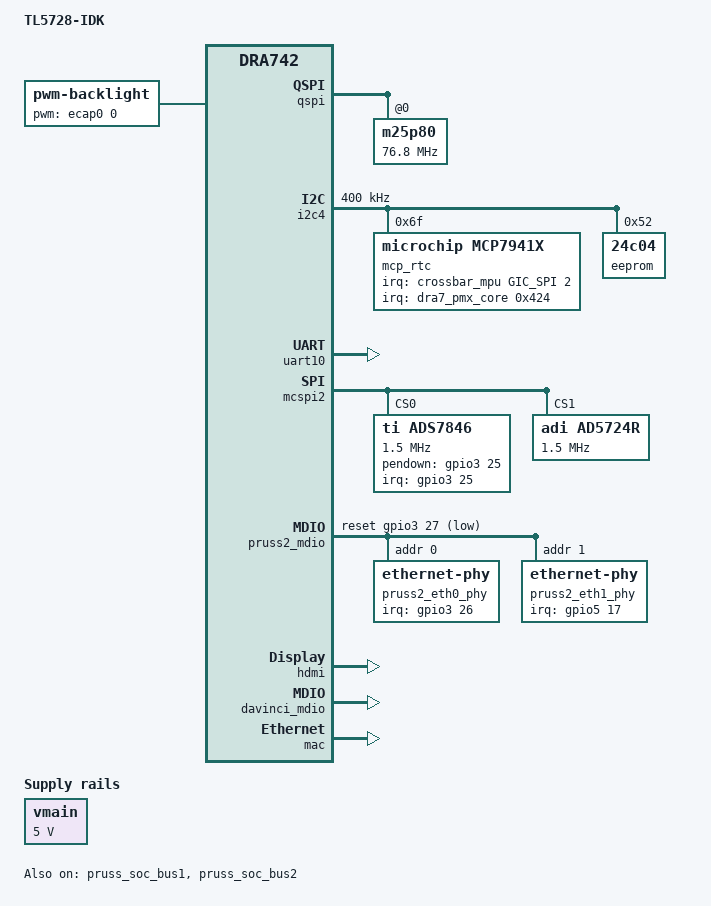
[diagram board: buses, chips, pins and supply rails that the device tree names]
/*
 * Copyright (C) 2015-2016 Texas Instruments Incorporated - http://www.ti.com/
 *
 * This program is free software; you can redistribute it and/or modify
 * it under the terms of the GNU General Public License version 2 as
 * published by the Free Software Foundation.
 */

#include "am57xx-evm-common.dtsi"

/ {
	model = "TL5728-IDK";
	compatible = "ti,am5728-idk", "ti,am5728", "ti,dra742", "ti,dra74",
		     "ti,dra7";

	aliases {
		rtc0 = &mcp_rtc;
		ethernet2 = &pruss2_emac0;
		ethernet3 = &pruss2_emac1;
	};

	vmain: fixedregulator-vmain {
		compatible = "regulator-fixed";
		regulator-name = "VMAIN";
		regulator-min-microvolt = <5000000>;
		regulator-max-microvolt = <5000000>;
		regulator-always-on;
		regulator-boot-on;
	};

	/* Dual-MAC Ethernet application node on PRU-ICSS2 */
	pruss2_eth: pruss2_eth {
		compatible = "ti,am57-prueth";
		pruss = <&pruss2>;
		sram = <&ocmcram1>;
		interrupt-parent = <&pruss2_intc>;
		/*rx-queue-size = /bits/ 16 <254 134 134 254 48>;*/ /* RED */
		/*rx-queue-size = /bits/ 16 <194 194 194 194 48>;*/ /* EMAC */
		/* map is lowpcp-to->hipcp where val 3=q4, 2=q3, 1=q2, 0=q1 */
		/*pcp-rxq-map = /bits/ 8 <3 3 2 2 1 1 0 0>;*/

		pruss2_emac0: ethernet-mii0 {
			phy-handle = <&pruss2_eth0_phy>;
			phy-mode = "mii";
			interrupts = <20>, <22>, <23>;
			interrupt-names = "rx", "tx", "ptp_tx";
			/* Filled in by bootloader */
			local-mac-address = [00 00 00 00 00 00];
			/*tx-queue-size = /bits/ 16 <97 97 97 97 48>;*/
		};

		pruss2_emac1: ethernet-mii1 {
			phy-handle = <&pruss2_eth1_phy>;
			phy-mode = "mii";
			interrupts = <21>, <23>, <24>;
			interrupt-names = "rx", "tx", "ptp_tx";
			/* Filled in by bootloader */
			local-mac-address = [00 00 00 00 00 00];
			/*tx-queue-size = /bits/ 16 <97 97 97 97 48>;*/
		};
	};

	backlight {
		compatible = "pwm-backlight";
		pinctrl-names = "default";
		pinctrl-0 = <&ehrpwm0_pins>;

		pwms = <&ecap0 0 50000 0>;

		brightness-levels = <0 10 50 100 150 200 220 240 255>;
		default-brightness-level = <8>;
	};
};

&qspi {
	spi-max-frequency = <76800000>;
	m25p80@0 {
		spi-max-frequency = <76800000>;
	};
};

&mmc1 {
	pinctrl-names = "default", "hs", "sdr12", "sdr25", "sdr50", "ddr50", "sdr104";
	pinctrl-0 = <&mmc1_pins_default>;
};

&mmc2 {
	pinctrl-names = "default", "hs", "ddr_1_8v";
	pinctrl-0 = <&mmc2_pins_default>;
	pinctrl-1 = <&mmc2_pins_hs>;
	pinctrl-2 = <&mmc2_pins_ddr_rev20>;
};

&lcd0 {
	pinctrl-names = "default";
	pinctrl-0 = <&lcd_pins_default>;

	panel-timing {
		clock-frequency = <33000000>;
		hactive = <800>;
		vactive = <480>;
		hfront-porch = <210>;
		hback-porch = <16>;
		hsync-len = <30>;
		vback-porch = <10>;
		vfront-porch = <22>;
		vsync-len = <13>;
		hsync-active = <0>;
		vsync-active = <0>;
		de-active = <1>;
		pixelclk-active = <1>;
	};
};



#include "am57xx-evm-cmem.dtsi"

&tps659038{
	tps659038_pmic {
		smps12-in-supply = <&vmain>;
		smps3-in-supply = <&vmain>;
		smps45-in-supply = <&vmain>;
		smps6-in-supply = <&vmain>;
		smps7-in-supply = <&vmain>;
		smps8-in-supply = <&vmain>;
		smps9-in-supply = <&vmain>;
		ldo1-in-supply = <&vmain>;
		ldo2-in-supply = <&vmain>;
		ldo3-in-supply = <&vmain>;
		ldo4-in-supply = <&vmain>;
		ldo9-in-supply = <&vmain>;
		ldoln-in-supply = <&vmain>;
		ldousb-in-supply = <&vmain>;
		ldortc-in-supply = <&vmain>;

		regulators {
			smps6_reg: smps6 {
				regulator-max-microvolt = <1060000>;
			};

			smps9_reg: smps9 {
				/* VDD_3_3D */
				regulator-name = "smps9";
				regulator-min-microvolt = <3300000>;
				regulator-max-microvolt = <3300000>;
				regulator-always-on;
				regulator-boot-on;
			};

			ldousb_reg: ldousb {
				regulator-always-on;
			};

			ldortc_reg: ldortc {
				/* VDDA_RTC  */
				regulator-name = "ldortc";
				regulator-min-microvolt = <1800000>;
				regulator-max-microvolt = <1800000>;
				regulator-always-on;
				regulator-boot-on;
			};

			regen2: regen2 {
				/* Needed for PMIC internal resource */
				regulator-name = "regen2";
				regulator-boot-on;
				regulator-always-on;
			};
		};
	};
};

&dra7_pmx_core {
	pinctrl-names = "default";
	pinctrl-0 = <&i2c4_pins_default &i2c1_pins_default &gpio_pins_default>;
	i2c4_pins_default: i2c4_pins_default {
		pinctrl-single,pins = <
			DRA7XX_CORE_IOPAD(0x3440, (PIN_INPUT_PULLUP | MUX_MODE7)) /* gpmc_a0.i2c4_scl */
			DRA7XX_CORE_IOPAD(0x3444, (PIN_INPUT_PULLUP | MUX_MODE7)) /* gpmc_a1.i2c4_sda */
		>;
	};

	uart10_pins_default: uart10_pins_default {
		pinctrl-single,pins = <
			DRA7XX_CORE_IOPAD(0x3570, (PIN_INPUT_PULLUP | MUX_MODE8)) /* vin2a_d2.uart10_rxd */
			DRA7XX_CORE_IOPAD(0x3574, (PIN_INPUT_PULLUP | MUX_MODE8)) /* vin2a_d3.uart10_txd */
		>;
	};

	spi2_pins: spi2_pins {
		pinctrl-single,pins = <
			DRA7XX_CORE_IOPAD(0x37c0, (INPUT_EN | MUX_MODE0))          /* spi2_sclk.spi2_sclk (A26) */
			DRA7XX_CORE_IOPAD(0x37c4, (INPUT_EN | MUX_MODE0))          /* spi2_d1.spi2_d1 (B22) */
			DRA7XX_CORE_IOPAD(0x37c8, (INPUT_EN | MUX_MODE0))          /* spi2_d0.spi2_d0 (G17) */
			DRA7XX_CORE_IOPAD(0x37cc, (PIN_OUTPUT_PULLUP | MUX_MODE0)) /* spi2_cs0.spi2_cs0 (B24) */
			DRA7XX_CORE_IOPAD(0x37b4, (PIN_OUTPUT_PULLUP | MUX_MODE3)) /* spi1_cs1.spi2_cs1 (A22) */
		>;
	};

	lcd_pins_default: lcd_pins_default {
		pinctrl-single,pins = <
			DRA7XX_CORE_IOPAD(0x35c8, (PIN_OUTPUT | MUX_MODE0 | SLEWCONTROL | MODE_SELECT)) /* vout1_clk */
			DRA7XX_CORE_IOPAD(0x35cc, (PIN_OUTPUT | MUX_MODE0 | SLEWCONTROL | MODE_SELECT)) /* vout1_de */
			DRA7XX_CORE_IOPAD(0x35d4, (PIN_OUTPUT | MUX_MODE0 | SLEWCONTROL | MODE_SELECT)) /* vout1_hsync */
			DRA7XX_CORE_IOPAD(0x35d8, (PIN_OUTPUT | MUX_MODE0 | SLEWCONTROL | MODE_SELECT)) /* vout1_vsync */
			DRA7XX_CORE_IOPAD(0x35dc, (PIN_OUTPUT | MUX_MODE0 | SLEWCONTROL | MODE_SELECT)) /* vout1_d0 */
			DRA7XX_CORE_IOPAD(0x35e0, (PIN_OUTPUT | MUX_MODE0 | SLEWCONTROL | MODE_SELECT)) /* vout1_d1 */
			DRA7XX_CORE_IOPAD(0x35e4, (PIN_OUTPUT | MUX_MODE0 | SLEWCONTROL | MODE_SELECT)) /* vout1_d2 */
			DRA7XX_CORE_IOPAD(0x35e8, (PIN_OUTPUT | MUX_MODE0 | SLEWCONTROL | MODE_SELECT)) /* vout1_d3 */
			DRA7XX_CORE_IOPAD(0x35ec, (PIN_OUTPUT | MUX_MODE0 | SLEWCONTROL | MODE_SELECT)) /* vout1_d4 */
			DRA7XX_CORE_IOPAD(0x35f0, (PIN_OUTPUT | MUX_MODE0 | SLEWCONTROL | MODE_SELECT)) /* vout1_d5 */
			DRA7XX_CORE_IOPAD(0x35f4, (PIN_OUTPUT | MUX_MODE0 | SLEWCONTROL | MODE_SELECT)) /* vout1_d6 */
			DRA7XX_CORE_IOPAD(0x35f8, (PIN_OUTPUT | MUX_MODE0 | SLEWCONTROL | MODE_SELECT)) /* vout1_d7 */
			DRA7XX_CORE_IOPAD(0x35fc, (PIN_OUTPUT | MUX_MODE0 | SLEWCONTROL | MODE_SELECT)) /* vout1_d8 */
			DRA7XX_CORE_IOPAD(0x3600, (PIN_OUTPUT | MUX_MODE0 | SLEWCONTROL | MODE_SELECT)) /* vout1_d9 */
			DRA7XX_CORE_IOPAD(0x3604, (PIN_OUTPUT | MUX_MODE0 | SLEWCONTROL | MODE_SELECT)) /* vout1_d10 */
			DRA7XX_CORE_IOPAD(0x3608, (PIN_OUTPUT | MUX_MODE0 | SLEWCONTROL | MODE_SELECT)) /* vout1_d11 */
			DRA7XX_CORE_IOPAD(0x360c, (PIN_OUTPUT | MUX_MODE0 | SLEWCONTROL | MODE_SELECT)) /* vout1_d12 */
			DRA7XX_CORE_IOPAD(0x3610, (PIN_OUTPUT | MUX_MODE0 | SLEWCONTROL | MODE_SELECT)) /* vout1_d13 */
			DRA7XX_CORE_IOPAD(0x3614, (PIN_OUTPUT | MUX_MODE0 | SLEWCONTROL | MODE_SELECT)) /* vout1_d14 */
			DRA7XX_CORE_IOPAD(0x3618, (PIN_OUTPUT | MUX_MODE0 | SLEWCONTROL | MODE_SELECT)) /* vout1_d15 */
			DRA7XX_CORE_IOPAD(0x361c, (PIN_OUTPUT | MUX_MODE0 | SLEWCONTROL | MODE_SELECT)) /* vout1_d16 */
			DRA7XX_CORE_IOPAD(0x3620, (PIN_OUTPUT | MUX_MODE0 | SLEWCONTROL | MODE_SELECT)) /* vout1_d17 */
			DRA7XX_CORE_IOPAD(0x3624, (PIN_OUTPUT | MUX_MODE0 | SLEWCONTROL | MODE_SELECT)) /* vout1_d18 */
			DRA7XX_CORE_IOPAD(0x3628, (PIN_OUTPUT | MUX_MODE0 | SLEWCONTROL | MODE_SELECT)) /* vout1_d19 */
			DRA7XX_CORE_IOPAD(0x362c, (PIN_OUTPUT | MUX_MODE0 | SLEWCONTROL | MODE_SELECT)) /* vout1_d20 */
			DRA7XX_CORE_IOPAD(0x3630, (PIN_OUTPUT | MUX_MODE0 | SLEWCONTROL | MODE_SELECT)) /* vout1_d21 */
			DRA7XX_CORE_IOPAD(0x3634, (PIN_OUTPUT | MUX_MODE0 | SLEWCONTROL | MODE_SELECT)) /* vout1_d22 */
			DRA7XX_CORE_IOPAD(0x3638, (PIN_OUTPUT | MUX_MODE0 | SLEWCONTROL | MODE_SELECT)) /* vout1_d23 */
		>;
	};

	ads7846_pins: ads7846_pins {
		pinctrl-single,pins = <
			DRA7XX_CORE_IOPAD(0x3548, (PIN_INPUT_PULLUP | MUX_MODE14)) /* vin1a_d21.gpio3_25 */
		>;
	};

	pru2_mii_pins_default: pru2_mii_pins_default {
		pinctrl-single,pins = <
			DRA7XX_CORE_IOPAD(0x3644, (PIN_INPUT_PULLUP | MUX_MODE14)) /* RMII_MHZ_50_CLK.gpio5_17 */
			DRA7XX_CORE_IOPAD(0x3684, (PIN_OUTPUT_PULLUP | MUX_MODE14)) /* usb2_drvvbus.gpio6_13 */
			DRA7XX_CORE_IOPAD(0x354c, (PIN_INPUT_PULLUP | MUX_MODE14)) /* vin1a_d22.gpio3_26*/
			DRA7XX_CORE_IOPAD(0x36b8, (PIN_INPUT_PULLDOWN | MUX_MODE11)) /* mcasp1_axr1.pr2_mii_mt0_clk (F12)*/
			DRA7XX_CORE_IOPAD(0x36d4, (PIN_INPUT_PULLDOWN | MUX_MODE11)) /* mcasp1_axr8.pr2_mii0_txen (B12) */
			DRA7XX_CORE_IOPAD(0x36e4, (PIN_INPUT_PULLDOWN | MUX_MODE11)) /* mcasp1_axr12.pr2_mii0_txd0 (E14) */
			DRA7XX_CORE_IOPAD(0x36e0, (PIN_INPUT_PULLDOWN | MUX_MODE11)) /* mcasp1_axr11.pr2_mii0_txd1 (A12) */
			DRA7XX_CORE_IOPAD(0x36dc, (PIN_INPUT_PULLDOWN | MUX_MODE11)) /* mcasp1_axr10.pr2_mii0_txd2 (B13) */
			DRA7XX_CORE_IOPAD(0x36d8, (PIN_INPUT_PULLDOWN | MUX_MODE11)) /* mcasp1_axr9.pr2_mii0_txd3 (A11) */
			DRA7XX_CORE_IOPAD(0x36e8, (PIN_INPUT_PULLDOWN | MUX_MODE11)) /* mcasp1_axr13.pr2_mii_mr0_clk (A13) */
			DRA7XX_CORE_IOPAD(0x36ec, (PIN_INPUT_PULLDOWN | MUX_MODE11)) /* mcasp1_axr14.pr2_mii0_rxdv (G14) */
			DRA7XX_CORE_IOPAD(0x36b4, (PIN_INPUT_PULLDOWN | MUX_MODE11)) /* mcasp1_axr0.pr2_mii0_rxer (G12) */
			DRA7XX_CORE_IOPAD(0x3724, (PIN_INPUT_PULLDOWN | MUX_MODE11)) /* mcasp3_aclkx.pr2_mii0_crs (B18) */
			DRA7XX_CORE_IOPAD(0x3728, (PIN_INPUT_PULLUP | MUX_MODE11)) /* mcasp3_fsx.pr2_mii0_col (F15) */
			DRA7XX_CORE_IOPAD(0x3710, (PIN_INPUT_PULLDOWN | MUX_MODE11)) /* mcasp2_axr3.pr2_mii0_rxlink (A16) */
			DRA7XX_CORE_IOPAD(0x370c, (PIN_INPUT_PULLUP | MUX_MODE11)) /* mcasp2_axr2.pr2_mii0_rxd0 (C15) */
			DRA7XX_CORE_IOPAD(0x36f8, (PIN_INPUT_PULLUP | MUX_MODE11)) /* mcasp2_fsx.pr2_mii0_rxd1 (A18) */
			DRA7XX_CORE_IOPAD(0x36f4, (PIN_INPUT_PULLUP | MUX_MODE11)) /* mcasp2_acllx.pr2_mii0_rxd2 (A19) */
			DRA7XX_CORE_IOPAD(0x36f0, (PIN_INPUT_PULLUP | MUX_MODE11)) /* mcasp1_axr15.pr2_mii0_rxd3 (F14) */
			DRA7XX_CORE_IOPAD(0x3774, (PIN_INPUT_PULLDOWN | MUX_MODE11)) /* gpio6_10.pr2_mii_mt1_clk (AC5) */
			DRA7XX_CORE_IOPAD(0x3778, (PIN_INPUT_PULLDOWN | MUX_MODE11)) /* gpio6_11.pr2_mii1_txen (AB4) */
			DRA7XX_CORE_IOPAD(0x377c, (PIN_INPUT_PULLDOWN | MUX_MODE11)) /* mmc3_clk.pr2_mii1_txd3 (AD4) */
			DRA7XX_CORE_IOPAD(0x3780, (PIN_INPUT_PULLDOWN | MUX_MODE11)) /* mmc3_cmd.pr2_mii1_txd2 (AC4) */
			DRA7XX_CORE_IOPAD(0x36a4, (PIN_INPUT_PULLUP | MUX_MODE11)) /* mcasp1_aclkx.pr2_mdio_mdclk (C14) */
			DRA7XX_CORE_IOPAD(0x36a8, (PIN_INPUT_PULLUP | MUX_MODE11)) /* mcasp1_fsx.pr2_mdio_data (D14) */
			DRA7XX_CORE_IOPAD(0x3784, (PIN_INPUT_PULLDOWN | MUX_MODE11)) /* mmc3_dat0.pr2_mii1_txd1 (AC7) */
			DRA7XX_CORE_IOPAD(0x3788, (PIN_INPUT_PULLDOWN | MUX_MODE11)) /* immc3_dat1.pr2_mii1_txd0 (AC6) */
			DRA7XX_CORE_IOPAD(0x378c, (PIN_INPUT_PULLDOWN | MUX_MODE11)) /* mmc3_dat2.pr2_mii_mr1_clk (AC9) */
			DRA7XX_CORE_IOPAD(0x3790, (PIN_INPUT_PULLDOWN | MUX_MODE11)) /* mmc3_dat3.pr2_mii1_rxdv (AC3) */
			DRA7XX_CORE_IOPAD(0x3794, (PIN_INPUT_PULLUP | MUX_MODE11)) /* mmc3_dat4.pr2_mii1_rxd3 (AC8) */
			DRA7XX_CORE_IOPAD(0x3798, (PIN_INPUT_PULLUP | MUX_MODE11)) /* mmc3_dat5.pr2_mii1_rxd2 (AD6) */
			DRA7XX_CORE_IOPAD(0x379c, (PIN_INPUT_PULLUP | MUX_MODE11)) /* mmc3_dat6.pr2_mii1_rxd1 (AB8) */
			DRA7XX_CORE_IOPAD(0x37a0, (PIN_INPUT_PULLUP | MUX_MODE11)) /* mmc3_dat7.pr2_mii1_rxd0 (AB5) */
			DRA7XX_CORE_IOPAD(0x372c, (PIN_INPUT_PULLDOWN | MUX_MODE11)) /* mcasp3_axr0.pr2_mii1_rxer (B19) */
			DRA7XX_CORE_IOPAD(0x3730, (PIN_INPUT_PULLDOWN | MUX_MODE11)) /* mcasp3_axr1.pr2_mii1_rxlink (C17) */
			DRA7XX_CORE_IOPAD(0x3694, (PIN_INPUT_PULLUP | MUX_MODE11)) /* xref_clk0.pr2_mii1_col (D18) */
			DRA7XX_CORE_IOPAD(0x3698, (PIN_INPUT_PULLDOWN | MUX_MODE11)) /* mcasp2_axr9.pr2_mii1_crs (E17) */
		>;
	};

	gpio_pins_default: gpio_pins_default{
		pinctrl-single,pins = <
			DRA7XX_CORE_IOPAD(0x3528, (PIN_INPUT_PULLUP | MUX_MODE14)) /* vin1a_d13.gpio3_17 (AF6) */
			DRA7XX_CORE_IOPAD(0x37ec, (PIN_OUTPUT_PULLDOWN | MUX_MODE14)) /* uart1_rtsn.gpio7_25 (C27) */
			DRA7XX_CORE_IOPAD(0x3550, (PIN_OUTPUT_PULLUP | MUX_MODE14)) /* vin1a_d23.gpio3_27 (AD3) */
			DRA7XX_CORE_IOPAD(0x34dc, (PIN_OUTPUT_PULLUP | MUX_MODE14)) /* vin1a_clk0.gpio2_30 (AG8) */
			DRA7XX_CORE_IOPAD(0x37b0, (PIN_INPUT_PULLUP | MUX_MODE14)) /* spi1_cs0.gpio7_10 (A24) */
			DRA7XX_CORE_IOPAD(0x381c, (PIN_INPUT_PULLUP | MUX_MODE14)) /* Wakeup1.gpio1_1 */
			DRA7XX_CORE_IOPAD(0x3820, (PIN_INPUT_PULLUP | MUX_MODE14)) /* Wakeup2.gpio1_2 */
			DRA7XX_CORE_IOPAD(0x3568, (PIN_INPUT_PULLUP | MUX_MODE14)) /* vin2a_d0.gpio4_1 */
			DRA7XX_CORE_IOPAD(0x352c, (PIN_INPUT_PULLDOWN | MUX_MODE14)) /* vin1a_d14.gpio3_18 */
		>;
	};
};

&i2c4 {
	status = "okay";
	clock-frequency = <400000>;

	mcp_rtc: rtc@6f {
		compatible = "microchip,mcp7941x";
		reg = <0x6f>;
		interrupts-extended = <&crossbar_mpu GIC_SPI 2 IRQ_TYPE_EDGE_RISING>,
				<&dra7_pmx_core 0x424>;
		interrupt-names = "irq", "wakeup";

		wakeup-source;
	};

	eeprom@50 {
		compatible = "24c04";
		reg = <0x52>;
		pagesize = <16>;
	};
};

&uart10 {
	status = "okay";
	pinctrl-names = "default";
	pinctrl-0 = <&uart10_pins_default>;
};

&mcspi2 {
	status = "okay";
	pinctrl-names = "default";
	pinctrl-0 = <&spi2_pins>;
	ti,pindir-d0-out-d1-in;

	ads7846@0 {
		pinctrl-names = "default";
		pinctrl-0 = <&ads7846_pins>;

		compatible = "ti,ads7846";

		reg = <0>;                      /* CS0 */
		spi-max-frequency = <1500000>;

		interrupt-parent = <&gpio3>;
		interrupts = <25 0>;            /* gpio3_25 */
		pendown-gpio = <&gpio3 25 0>;

		ti,x-min = /bits/ 16 <0x0>;
		ti,x-max = /bits/ 16 <0x0fff>;
		ti,y-min = /bits/ 16 <0x0>;
		ti,y-max = /bits/ 16 <0x0fff>;

		ti,x-plate-ohms = /bits/ 16 <180>;
		ti,pressure-max = /bits/ 16 <255>;

		ti,debounce-max = /bits/ 16 <10>;
		ti,debounce-tol = /bits/ 16 <30>;
		ti,debounce-rep = /bits/ 16 <1>;

		ti,settle-delay-usec = /bits/ 16 <150>;
		ti,keep-vref-on = <1>;

		linux,wakeup;
	};

	ad5724r@0 {
		compatible = "adi,ad5724r";
		reg = <1>; /* CS1 */
		spi-cpha; /* SPI_MODE_1 */
		spi-max-frequency = <1500000>;
	};
};

&pruss_soc_bus1 {
	status = "okay";

	pruss1: pruss@4b200000 {
		status = "okay";

	pru1_0: pru@4b234000 {
		interrupt-parent = <&pruss1_intc>;
		interrupts = <16>, <17>;
		interrupt-names = "vring", "kick";
		status = "okay";
	};

	pru1_1: pru@4b238000 {
		interrupt-parent = <&pruss1_intc>;
		interrupts = <18>, <19>;
		interrupt-names = "vring", "kick";
		status = "okay";
	};
	};
};

&pruss_soc_bus2 {
	status = "okay";

	pruss2: pruss@4b280000 {
		status = "okay";

	pru2_0: pru@4b2b4000 {
		interrupt-parent = <&pruss2_intc>;
		interrupts = <16>, <17>;
		interrupt-names = "vring", "kick";
		status = "okay";
	};

	pru2_1: pru@4b2b8000 {
		interrupt-parent = <&pruss2_intc>;
		interrupts = <18>, <19>;
		interrupt-names = "vring", "kick";
		status = "okay";
	};
	};
};

&pruss2_mdio {
	status = "okay";
	pinctrl-names = "default";
	pinctrl-0 = <&pru2_mii_pins_default>;

	reset-gpios = <&gpio3 27 GPIO_ACTIVE_LOW>,
		<&gpio6 13 GPIO_ACTIVE_LOW>;
	reset-delay-us = <2>;   /* PHY datasheet states 1uS min */

	pruss2_eth0_phy: ethernet-phy@0 {
		reg = <0>;
		interrupt-parent = <&gpio3>;
		interrupts = <26 IRQ_TYPE_EDGE_FALLING>;
	};

	pruss2_eth1_phy: ethernet-phy@1 {
		reg = <1>;
		interrupt-parent = <&gpio5>;
		interrupts = <17 IRQ_TYPE_EDGE_FALLING>;
	};
};

&hdmi {
	status = "okay";

	vdda-supply = <&ldo3_reg>;
};

&tpd12s015 {
	compatible = "ti,tpd12s016", "ti,tpd12s015";

	gpios = <0>, /* optional CT_CP_HPD */
		<0>, /* optional LS_OE */
		<&gpio7 12 GPIO_ACTIVE_HIGH>;   /* HPD */
};

&davinci_mdio {
	status = "okay";

	pinctrl-names = "default";
	pinctrl-0 = <&rgmii0_pins_default &rgmii1_pins_default>;
};

&mac {
	status = "okay";
	dual_emac;
};

&gpio3 {
	ti,no-reset-on-init;
};

&dss {
	ti,no-reset-on-init;
	ti,no-idle;
};

&dispc {
	ti,no-reset-on-init;
	ti,no-idle;
};
